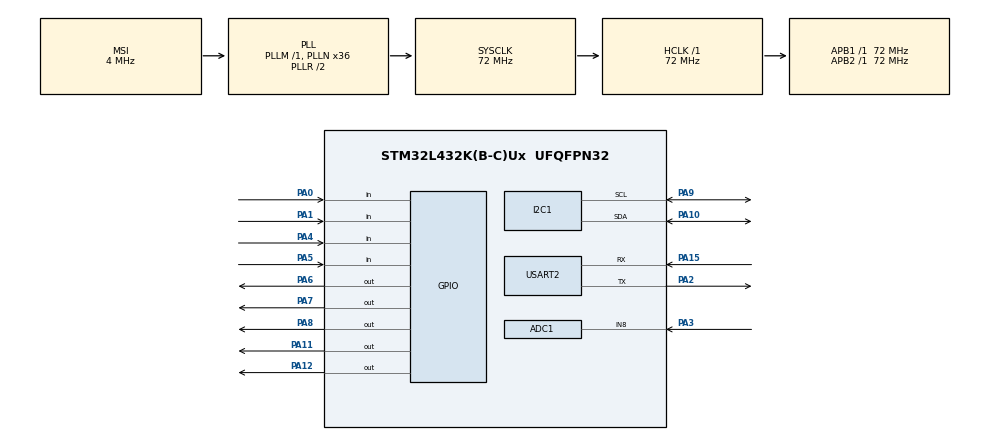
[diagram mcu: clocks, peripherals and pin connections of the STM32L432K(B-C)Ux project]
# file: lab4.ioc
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ADC1.Channel-0\#ChannelRegularConversion=ADC_CHANNEL_8
ADC1.NbrOfConversionFlag=1
ADC1.OffsetNumber-0\#ChannelRegularConversion=ADC_OFFSET_NONE
ADC1.Rank-0\#ChannelRegularConversion=1
ADC1.SamplingTime-0\#ChannelRegularConversion=ADC_SAMPLETIME_2CYCLES_5
ADC1.master=1
I2C1.Timing=0x10808DD3
Mcu.Family=STM32L4
Mcu.Name=STM32L432K(B-C)Ux
Mcu.Package=UFQFPN32
NVIC.PriorityGroup=NVIC_PRIORITYGROUP_4
NVIC.RTC_Alarm_IRQn=true\:0\:0\:false\:false\:true\:true\:true\:true
NVIC.TIM1_UP_TIM16_IRQn=true\:0\:0\:false\:false\:true\:true\:true\:true
PA0.Signal=GPIO_Input
PA1.Signal=GPIO_Input
PA10.Mode=I2C
PA10.Signal=I2C1_SDA
PA11.Signal=GPIO_Output
PA12.Signal=GPIO_Output
PA13\ (JTMS-SWDIO).Mode=Serial_Wire
PA13\ (JTMS-SWDIO).Signal=SYS_JTMS-SWDIO
PA14\ (JTCK-SWCLK).Mode=Serial_Wire
PA14\ (JTCK-SWCLK).Signal=SYS_JTCK-SWCLK
PA15\ (JTDI).Mode=Asynchronous
PA15\ (JTDI).Signal=USART2_RX
PA2.Mode=Asynchronous
PA2.Signal=USART2_TX
PA3.Signal=ADCx_IN8
PA4.Signal=GPIO_Input
PA5.Signal=GPIO_Input
PA6.Signal=GPIO_Output
PA7.Signal=GPIO_Output
PA8.Signal=GPIO_Output
PA9.Mode=I2C
PA9.Signal=I2C1_SCL
PC14-OSC32_IN\ (PC14).Mode=LSE-External-Oscillator
PC14-OSC32_IN\ (PC14).Signal=RCC_OSC32_IN
PC15-OSC32_OUT\ (PC15).Mode=LSE-External-Oscillator
PC15-OSC32_OUT\ (PC15).Signal=RCC_OSC32_OUT
ProjectManager.HeapSize=0x200
ProjectManager.StackSize=0x400
ProjectManager.TargetToolchain=MDK-ARM V5
RCC.ADCFreq_Value=32000000
RCC.AHBFreq_Value=72000000
RCC.APB1Freq_Value=72000000
RCC.APB1TimFreq_Value=72000000
RCC.APB2Freq_Value=72000000
RCC.APB2TimFreq_Value=72000000
RCC.CortexFreq_Value=72000000
RCC.HCLKFreq_Value=72000000
RCC.HSE_VALUE=8000000
RCC.HSI48_VALUE=48000000
RCC.HSI_VALUE=16000000
RCC.MSI_VALUE=4000000
RCC.PLLN=36
RCC.PLLSAI1N=16
RCC.SYSCLKFreq_VALUE=72000000
RCC.SYSCLKSource=RCC_SYSCLKSOURCE_PLLCLK
RCC.USBFreq_Value=32000000
RCC.VCOOutputFreq_Value=144000000
RTC.Alarm=RTC_ALARM_A
RTC.AlarmMaskDateWeekDay=RTC_ALARMMASK_DATEWEEKDAY
RTC.AlarmMaskHours=RTC_ALARMMASK_HOURS
RTC.AlarmMaskMinutes=RTC_ALARMMASK_MINUTES
RTC.Minutes_A=0
RTC.Seconds_A=10
SH.ADCx_IN8.0=ADC1_IN8,IN8-Single-Ended
TIM16.Period=4999
TIM16.Prescaler=7199
USART2.VirtualMode-Asynchronous=VM_ASYNC
VP_RTC_VS_RTC_Activate.Mode=RTC_Enabled
VP_RTC_VS_RTC_Alarm_A_Intern.Mode=Alarm A
VP_RTC_VS_RTC_Calendar.Mode=RTC_Calendar
VP_TIM16_VS_ClockSourceINT.Mode=Enable_Timer
board=custom

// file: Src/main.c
/**
  ******************************************************************************
  * @file           : main.c
  * @brief          : Main program body
  ******************************************************************************
  ** This notice applies to any and all portions of this file
  * that are not between comment pairs USER CODE BEGIN and
  * USER CODE END. Other portions of this file, whether
  * inserted by the user or by software development tools
  * are owned by their respective copyright owners.
  *
  * COPYRIGHT(c) 2023 STMicroelectronics
  *
  * Redistribution and use in source and binary forms, with or without modification,
  * are permitted provided that the following conditions are met:
  *   1. Redistributions of source code must retain the above copyright notice,
  *      this list of conditions and the following disclaimer.
  *   2. Redistributions in binary form must reproduce the above copyright notice,
  *      this list of conditions and the following disclaimer in the documentation
  *      and/or other materials provided with the distribution.
  *   3. Neither the name of STMicroelectronics nor the names of its contributors
  *      may be used to endorse or promote products derived from this software
  *      without specific prior written permission.
  *
  * THIS SOFTWARE IS PROVIDED BY THE COPYRIGHT HOLDERS AND CONTRIBUTORS "AS IS"
  * AND ANY EXPRESS OR IMPLIED WARRANTIES, INCLUDING, BUT NOT LIMITED TO, THE
  * IMPLIED WARRANTIES OF MERCHANTABILITY AND FITNESS FOR A PARTICULAR PURPOSE ARE
  * DISCLAIMED. IN NO EVENT SHALL THE COPYRIGHT HOLDER OR CONTRIBUTORS BE LIABLE
  * FOR ANY DIRECT, INDIRECT, INCIDENTAL, SPECIAL, EXEMPLARY, OR CONSEQUENTIAL
  * DAMAGES (INCLUDING, BUT NOT LIMITED TO, PROCUREMENT OF SUBSTITUTE GOODS OR
  * SERVICES; LOSS OF USE, DATA, OR PROFITS; OR BUSINESS INTERRUPTION) HOWEVER
  * CAUSED AND ON ANY THEORY OF LIABILITY, WHETHER IN CONTRACT, STRICT LIABILITY,
  * OR TORT (INCLUDING NEGLIGENCE OR OTHERWISE) ARISING IN ANY WAY OUT OF THE USE
  * OF THIS SOFTWARE, EVEN IF ADVISED OF THE POSSIBILITY OF SUCH DAMAGE.
  *
  ******************************************************************************
  */
#include "main.h"
#include "stm32l4xx_hal.h"

/* USER CODE BEGIN Includes */
#include "stdio.h"
#include "string.h"
#include "liquidcrystal_i2c.h.txt"
/* USER CODE END Includes */

ADC_HandleTypeDef hadc1;

I2C_HandleTypeDef hi2c1;

RTC_HandleTypeDef hrtc;

TIM_HandleTypeDef htim16;

UART_HandleTypeDef huart2;

/* USER CODE BEGIN PV */
/* Private variables ---------------------------------------------------------*/
uint8_t alarm=0, access=0;
int count = 0;
char arr[20];
char pass[] = "1234";

/* USER CODE END PV */

void SystemClock_Config(void);
static void MX_GPIO_Init(void);
static void MX_USART2_UART_Init(void);
static void MX_RTC_Init(void);
static void MX_I2C1_Init(void);
static void MX_ADC1_Init(void);
static void MX_TIM16_Init(void);

/* USER CODE BEGIN PFP */
/* Private function prototypes -----------------------------------------------*/
static void keypad(void);
/* USER CODE END PFP */

/* USER CODE BEGIN 0 */
#define C4_GPIO_PIN GPIO_PIN_7
#define C3_GPIO_PIN GPIO_PIN_6
#define C2_GPIO_PIN GPIO_PIN_8
#define C1_GPIO_PIN GPIO_PIN_11

#define R4_GPIO_PIN GPIO_PIN_0
#define R3_GPIO_PIN GPIO_PIN_1
#define R2_GPIO_PIN GPIO_PIN_5
#define R1_GPIO_PIN GPIO_PIN_4

uint8_t x;

void keypad(void){
			HAL_GPIO_WritePin (GPIOA, C1_GPIO_PIN, GPIO_PIN_RESET);	//Pull the C1 low
		HAL_GPIO_WritePin (GPIOA, C2_GPIO_PIN, GPIO_PIN_SET);  // Pull the C2 High
		HAL_GPIO_WritePin (GPIOA, C3_GPIO_PIN, GPIO_PIN_SET);  // Pull the C3 High
		HAL_GPIO_WritePin (GPIOA, C4_GPIO_PIN, GPIO_PIN_SET);  // Pull the C4 High

		if (!(HAL_GPIO_ReadPin (GPIOA, R1_GPIO_PIN)))   // if the Col 1 is low
		{
			while (!(HAL_GPIO_ReadPin (GPIOA, R1_GPIO_PIN)));   // wait till the button is pressed
			x = '1';
			sprintf(&arr[count], "%c", x );
			count++;
			HAL_UART_Transmit(&huart2,&x , 1, 1000);
			HAL_Delay(250);
		}

		if (!(HAL_GPIO_ReadPin (GPIOA, R2_GPIO_PIN)))   // if the Col 2 is low
		{
			while (!(HAL_GPIO_ReadPin (GPIOA, R2_GPIO_PIN)));   // wait till the button is pressed
			x = '4';
			sprintf(&arr[count], "%c", x );
			count++;
			HAL_UART_Transmit(&huart2,&x , 1, 1000);
			HAL_Delay(250);
		}

		if (!(HAL_GPIO_ReadPin (GPIOA, R3_GPIO_PIN)))   // if the Col 3 is low
		{
			while (!(HAL_GPIO_ReadPin (GPIOA, R3_GPIO_PIN)));   // wait till the button is pressed
			x = '7';
			sprintf(&arr[count], "%c", x );
			count++;
			HAL_UART_Transmit(&huart2,&x , 1, 1000);
			HAL_Delay(250);
		}

		if (!(HAL_GPIO_ReadPin (GPIOA, R4_GPIO_PIN)))   // if the Col 4 is low
		{
			while (!(HAL_GPIO_ReadPin (GPIOA, R4_GPIO_PIN)));   // wait till the button is pressed
			x = '0';
			sprintf(&arr[count], "%c", x );
			count++;
			HAL_UART_Transmit(&huart2,&x , 1, 1000);
			HAL_Delay(250);
		}

		HAL_GPIO_WritePin (GPIOA, C1_GPIO_PIN, GPIO_PIN_SET);	//Pull the C1 high
		HAL_GPIO_WritePin (GPIOA, C2_GPIO_PIN, GPIO_PIN_RESET);  // Pull the C2 low
		HAL_GPIO_WritePin (GPIOA, C3_GPIO_PIN, GPIO_PIN_SET);  // Pull the C3 High
		HAL_GPIO_WritePin (GPIOA, C4_GPIO_PIN, GPIO_PIN_SET);  // Pull the C4 High

		if (!(HAL_GPIO_ReadPin (GPIOA, R1_GPIO_PIN)))   // if the Col 1 is low
		{
			while (!(HAL_GPIO_ReadPin (GPIOA, R1_GPIO_PIN)));   // wait till the button is pressed
			x = '2';
			sprintf(&arr[count], "%c", x );
			count++;
			HAL_UART_Transmit(&huart2,&x , 1, 1000);
			HAL_Delay(250);
		}

		if (!(HAL_GPIO_ReadPin (GPIOA, R2_GPIO_PIN)))   // if the Col 2 is low
		{
			while (!(HAL_GPIO_ReadPin (GPIOA, R2_GPIO_PIN)));   // wait till the button is pressed
			x = '5';
			sprintf(&arr[count], "%c", x );
			count++;
			HAL_UART_Transmit(&huart2,&x , 1, 1000);
			HAL_Delay(250);
		}

		if (!(HAL_GPIO_ReadPin (GPIOA, R3_GPIO_PIN)))   // if the Col 3 is low
		{
			while (!(HAL_GPIO_ReadPin (GPIOA, R3_GPIO_PIN)));   // wait till the button is pressed
			x = '8';
			sprintf(&arr[count], "%c", x );
			count++;
			HAL_UART_Transmit(&huart2,&x , 1, 1000);
			HAL_Delay(250);
		}

		if (!(HAL_GPIO_ReadPin (GPIOA, R4_GPIO_PIN)))   // if the Col 4 is low
		{
			while (!(HAL_GPIO_ReadPin (GPIOA, R4_GPIO_PIN)));   // wait till the button is pressed
			x = 'F';
			sprintf(&arr[count], "%c", x );
			count++;
			HAL_UART_Transmit(&huart2,&x , 1, 1000);
			HAL_Delay(250);
		}

		HAL_GPIO_WritePin (GPIOA, C1_GPIO_PIN, GPIO_PIN_SET);	//Pull the C1 high
		HAL_GPIO_WritePin (GPIOA, C2_GPIO_PIN, GPIO_PIN_SET);  // Pull the C2 high
		HAL_GPIO_WritePin (GPIOA, C3_GPIO_PIN, GPIO_PIN_RESET);  // Pull the C3 low
		HAL_GPIO_WritePin (GPIOA, C4_GPIO_PIN, GPIO_PIN_SET);  // Pull the C4 High

		if (!(HAL_GPIO_ReadPin (GPIOA, R1_GPIO_PIN)))   // if the Col 1 is low
		{
			while (!(HAL_GPIO_ReadPin (GPIOA, R1_GPIO_PIN)));   // wait till the button is pressed
			x = '3';
			sprintf(&arr[count], "%c", x );
			count++;
			HAL_UART_Transmit(&huart2,&x , 1, 1000);
			HAL_Delay(250);
		}

		if (!(HAL_GPIO_ReadPin (GPIOA, R2_GPIO_PIN)))   // if the Col 2 is low
		{
			while (!(HAL_GPIO_ReadPin (GPIOA, R2_GPIO_PIN)));   // wait till the button is pressed
			x = '6';
			sprintf(&arr[count], "%c", x );
			count++;
			HAL_UART_Transmit(&huart2,&x , 1, 1000);
			HAL_Delay(250);
		}

		if (!(HAL_GPIO_ReadPin (GPIOA, R3_GPIO_PIN)))   // if the Col 3 is low
		{
			while (!(HAL_GPIO_ReadPin (GPIOA, R3_GPIO_PIN)));   // wait till the button is pressed
			x = '9';
			sprintf(&arr[count], "%c", x );
			count++;
			HAL_UART_Transmit(&huart2,&x , 1, 1000);
			HAL_Delay(250);
		}

		if (!(HAL_GPIO_ReadPin (GPIOA, R4_GPIO_PIN)))   // if the Col 4 is low
		{
			while (!(HAL_GPIO_ReadPin (GPIOA, R4_GPIO_PIN)));   // wait till the button is pressed
			x = 'E';
			sprintf(&arr[count], "%c", x );
			count++;
			HAL_UART_Transmit(&huart2,&x , 1, 1000);
			HAL_Delay(250);
		}

		HAL_GPIO_WritePin (GPIOA, C1_GPIO_PIN, GPIO_PIN_SET);	//Pull the C1 high
		HAL_GPIO_WritePin (GPIOA, C2_GPIO_PIN, GPIO_PIN_SET);  // Pull the C2 high
		HAL_GPIO_WritePin (GPIOA, C3_GPIO_PIN, GPIO_PIN_SET);  // Pull the C3 High
		HAL_GPIO_WritePin (GPIOA, C4_GPIO_PIN, GPIO_PIN_RESET);  // Pull the C4 low

		if (!(HAL_GPIO_ReadPin (GPIOA, R1_GPIO_PIN)))   // if the Col 1 is low
		{
			while (!(HAL_GPIO_ReadPin (GPIOA, R1_GPIO_PIN)));   // wait till the button is pressed
			x = 'A';
			sprintf(&arr[count], "%c", x );
			count++;
			HAL_UART_Transmit(&huart2,&x , 1, 1000);
			HAL_Delay(250);
		}

		if (!(HAL_GPIO_ReadPin (GPIOA, R2_GPIO_PIN)))   // if the Col 2 is low
		{
			while (!(HAL_GPIO_ReadPin (GPIOA, R2_GPIO_PIN)));   // wait till the button is pressed
			x = 'B';
			sprintf(&arr[count], "%c", x );
			count++;
			HAL_UART_Transmit(&huart2,&x , 1, 1000);
			HAL_Delay(250);
		}

		if (!(HAL_GPIO_ReadPin (GPIOA, R3_GPIO_PIN)))   // if the Col 3 is low
		{
			while (!(HAL_GPIO_ReadPin (GPIOA, R3_GPIO_PIN)));   // wait till the button is pressed
			x = 'C';
			sprintf(&arr[count], "%c", x );
			count++;
			HAL_UART_Transmit(&huart2,&x , 1, 1000);
			HAL_Delay(250);
		}

		if (!(HAL_GPIO_ReadPin (GPIOA, R4_GPIO_PIN)))   // if the Col 4 is low
		{
			while (!(HAL_GPIO_ReadPin (GPIOA, R4_GPIO_PIN)));   // wait till the button is pressed
			x = 'D';
			sprintf(&arr[count], "%c", x );
			count++;
			HAL_UART_Transmit(&huart2,&x , 1, 1000);
			HAL_Delay(250);
		}

		if (count <=4){

			HD44780_SetCursor(0,1);
			HD44780_PrintStr(arr);

			if(count == 4){
			if(strcmp(arr,pass) == 0){
				access = 1;
				HD44780_Clear();
				HD44780_SetCursor(0,0);
			HD44780_PrintStr("Access");
				HD44780_SetCursor(8,1);
			HD44780_PrintStr("Granted");
			}
			else
				access = 0;
			}
		}
		else {
			for (int i =0; i<count; i++)
				arr[i] = ' ';
			count = 0;
			HD44780_Clear();
			sprintf(&arr[count], "%c", x );
			count++;
		}

}

/* USER CODE END 0 */

int main(void)
{
  /* USER CODE BEGIN 1 */
    uint16_t AD_RES = 0, Vamb, DC_Multiplier, res;
	char msg[] = "\r\n Alarm ";
  /* USER CODE END 1 */

  /* MCU Configuration----------------------------------------------------------*/

  /* Reset of all peripherals, Initializes the Flash interface and the Systick. */
  HAL_Init();

  /* Configure the system clock */
  SystemClock_Config();

  /* Initialize all configured peripherals */
  MX_GPIO_Init();
  MX_USART2_UART_Init();
  MX_RTC_Init();
  MX_I2C1_Init();
  MX_ADC1_Init();
  MX_TIM16_Init();
  /* USER CODE BEGIN 2 */
// __HAL_RTC_ALARM_ENABLE_IT(&hrtc,RTC_IT_ALRA);
  HD44780_Init(2);
  HD44780_Clear();
//  HD44780_SetCursor(0,0);
//  HD44780_PrintStr("Password?");
//  HD44780_SetCursor(10,1);
//  HD44780_PrintStr("WORLD");
//  HAL_Delay(2000);

  /* USER CODE END 2 */

  /* Infinite loop */
  /* USER CODE BEGIN WHILE */
	   HAL_ADCEx_Calibration_Start(&hadc1,ADC_SINGLE_ENDED);
	HAL_TIM_Base_Start_IT(&htim16);
//	HAL_ADC_Start(&hadc1);
//    HAL_ADC_PollForConversion(&hadc1, 1);
    Vamb = HAL_ADC_GetValue(&hadc1);

    DC_Multiplier = 65535/(4096-Vamb);
  while (1)
  {

  /* USER CODE END WHILE */

  /* USER CODE BEGIN 3 */
			HAL_ADC_Start(&hadc1);
       // Poll ADC1 Perihperal & TimeOut = 1mSec
        HAL_ADC_PollForConversion(&hadc1, 1);
       // Read The ADC Conversion Result & Map It To PWM DutyCycle
        AD_RES = HAL_ADC_GetValue(&hadc1);
				res = (AD_RES-Vamb)*DC_Multiplier;
				HAL_UART_Transmit(&huart2, (uint8_t *)msg,sizeof(msg),1000);
		char arr[5] = {0, 0, 0, 0, 0};
		keypad();
		if(res>55000){

			alarm=1;
		}
		else {alarm = 0;}

					sprintf(arr, "%d\r\n", res);

				HAL_UART_Transmit(&huart2, (uint8_t *)&arr,sizeof(5),1000);
		HAL_Delay(100);

  /* USER CODE END WHILE */

  /* USER CODE BEGIN 3 */

  }
  /* USER CODE END 3 */

}

void SystemClock_Config(void)
{

  RCC_OscInitTypeDef RCC_OscInitStruct;
  RCC_ClkInitTypeDef RCC_ClkInitStruct;
  RCC_PeriphCLKInitTypeDef PeriphClkInit;

    /**Configure LSE Drive Capability
    */
  HAL_PWR_EnableBkUpAccess();

  __HAL_RCC_LSEDRIVE_CONFIG(RCC_LSEDRIVE_LOW);

    /**Initializes the CPU, AHB and APB busses clocks
    */
  RCC_OscInitStruct.OscillatorType = RCC_OSCILLATORTYPE_LSI|RCC_OSCILLATORTYPE_LSE
                              |RCC_OSCILLATORTYPE_MSI;
  RCC_OscInitStruct.LSEState = RCC_LSE_ON;
  RCC_OscInitStruct.LSIState = RCC_LSI_ON;
  RCC_OscInitStruct.MSIState = RCC_MSI_ON;
  RCC_OscInitStruct.MSICalibrationValue = 0;
  RCC_OscInitStruct.MSIClockRange = RCC_MSIRANGE_6;
  RCC_OscInitStruct.PLL.PLLState = RCC_PLL_ON;
  RCC_OscInitStruct.PLL.PLLSource = RCC_PLLSOURCE_MSI;
  RCC_OscInitStruct.PLL.PLLM = 1;
  RCC_OscInitStruct.PLL.PLLN = 36;
  RCC_OscInitStruct.PLL.PLLP = RCC_PLLP_DIV7;
  RCC_OscInitStruct.PLL.PLLQ = RCC_PLLQ_DIV2;
  RCC_OscInitStruct.PLL.PLLR = RCC_PLLR_DIV2;
  if (HAL_RCC_OscConfig(&RCC_OscInitStruct) != HAL_OK)
  {
    _Error_Handler(__FILE__, __LINE__);
  }

    /**Initializes the CPU, AHB and APB busses clocks
    */
  RCC_ClkInitStruct.ClockType = RCC_CLOCKTYPE_HCLK|RCC_CLOCKTYPE_SYSCLK
                              |RCC_CLOCKTYPE_PCLK1|RCC_CLOCKTYPE_PCLK2;
  RCC_ClkInitStruct.SYSCLKSource = RCC_SYSCLKSOURCE_PLLCLK;
  RCC_ClkInitStruct.AHBCLKDivider = RCC_SYSCLK_DIV1;
  RCC_ClkInitStruct.APB1CLKDivider = RCC_HCLK_DIV1;
  RCC_ClkInitStruct.APB2CLKDivider = RCC_HCLK_DIV1;

  if (HAL_RCC_ClockConfig(&RCC_ClkInitStruct, FLASH_LATENCY_4) != HAL_OK)
  {
    _Error_Handler(__FILE__, __LINE__);
  }

  PeriphClkInit.PeriphClockSelection = RCC_PERIPHCLK_RTC|RCC_PERIPHCLK_USART2
                              |RCC_PERIPHCLK_I2C1|RCC_PERIPHCLK_ADC;
  PeriphClkInit.Usart2ClockSelection = RCC_USART2CLKSOURCE_PCLK1;
  PeriphClkInit.I2c1ClockSelection = RCC_I2C1CLKSOURCE_PCLK1;
  PeriphClkInit.AdcClockSelection = RCC_ADCCLKSOURCE_PLLSAI1;
  PeriphClkInit.RTCClockSelection = RCC_RTCCLKSOURCE_LSI;
  PeriphClkInit.PLLSAI1.PLLSAI1Source = RCC_PLLSOURCE_MSI;
  PeriphClkInit.PLLSAI1.PLLSAI1M = 1;
  PeriphClkInit.PLLSAI1.PLLSAI1N = 16;
  PeriphClkInit.PLLSAI1.PLLSAI1P = RCC_PLLP_DIV7;
  PeriphClkInit.PLLSAI1.PLLSAI1Q = RCC_PLLQ_DIV2;
  PeriphClkInit.PLLSAI1.PLLSAI1R = RCC_PLLR_DIV2;
  PeriphClkInit.PLLSAI1.PLLSAI1ClockOut = RCC_PLLSAI1_ADC1CLK;
  if (HAL_RCCEx_PeriphCLKConfig(&PeriphClkInit) != HAL_OK)
  {
    _Error_Handler(__FILE__, __LINE__);
  }

    /**Configure the main internal regulator output voltage
    */
  if (HAL_PWREx_ControlVoltageScaling(PWR_REGULATOR_VOLTAGE_SCALE1) != HAL_OK)
  {
    _Error_Handler(__FILE__, __LINE__);
  }

    /**Configure the Systick interrupt time
    */
  HAL_SYSTICK_Config(HAL_RCC_GetHCLKFreq()/1000);

    /**Configure the Systick
    */
  HAL_SYSTICK_CLKSourceConfig(SYSTICK_CLKSOURCE_HCLK);

    /**Enable MSI Auto calibration
    */
  HAL_RCCEx_EnableMSIPLLMode();

  /* SysTick_IRQn interrupt configuration */
  HAL_NVIC_SetPriority(SysTick_IRQn, 0, 0);
}

/* ADC1 init function */
static void MX_ADC1_Init(void)
{

  ADC_ChannelConfTypeDef sConfig;

    /**Common config
    */
  hadc1.Instance = ADC1;
  hadc1.Init.ClockPrescaler = ADC_CLOCK_ASYNC_DIV1;
  hadc1.Init.Resolution = ADC_RESOLUTION_12B;
  hadc1.Init.DataAlign = ADC_DATAALIGN_RIGHT;
  hadc1.Init.ScanConvMode = ADC_SCAN_DISABLE;
  hadc1.Init.EOCSelection = ADC_EOC_SINGLE_CONV;
  hadc1.Init.LowPowerAutoWait = DISABLE;
  hadc1.Init.ContinuousConvMode = DISABLE;
  hadc1.Init.NbrOfConversion = 1;
  hadc1.Init.DiscontinuousConvMode = DISABLE;
  hadc1.Init.ExternalTrigConv = ADC_SOFTWARE_START;
  hadc1.Init.ExternalTrigConvEdge = ADC_EXTERNALTRIGCONVEDGE_NONE;
  hadc1.Init.DMAContinuousRequests = DISABLE;
  hadc1.Init.Overrun = ADC_OVR_DATA_PRESERVED;
  hadc1.Init.OversamplingMode = DISABLE;
  if (HAL_ADC_Init(&hadc1) != HAL_OK)
  {
    _Error_Handler(__FILE__, __LINE__);
  }

    /**Configure Regular Channel
    */
  sConfig.Channel = ADC_CHANNEL_8;
  sConfig.Rank = ADC_REGULAR_RANK_1;
  sConfig.SamplingTime = ADC_SAMPLETIME_2CYCLES_5;
  sConfig.SingleDiff = ADC_SINGLE_ENDED;
  sConfig.OffsetNumber = ADC_OFFSET_NONE;
  sConfig.Offset = 0;
  if (HAL_ADC_ConfigChannel(&hadc1, &sConfig) != HAL_OK)
  {
    _Error_Handler(__FILE__, __LINE__);
  }

}

/* I2C1 init function */
static void MX_I2C1_Init(void)
{

  hi2c1.Instance = I2C1;
  hi2c1.Init.Timing = 0x10808DD3;
  hi2c1.Init.OwnAddress1 = 0;
  hi2c1.Init.AddressingMode = I2C_ADDRESSINGMODE_7BIT;
  hi2c1.Init.DualAddressMode = I2C_DUALADDRESS_DISABLE;
  hi2c1.Init.OwnAddress2 = 0;
  hi2c1.Init.OwnAddress2Masks = I2C_OA2_NOMASK;
  hi2c1.Init.GeneralCallMode = I2C_GENERALCALL_DISABLE;
  hi2c1.Init.NoStretchMode = I2C_NOSTRETCH_DISABLE;
  if (HAL_I2C_Init(&hi2c1) != HAL_OK)
  {
    _Error_Handler(__FILE__, __LINE__);
  }

    /**Configure Analogue filter
    */
  if (HAL_I2CEx_ConfigAnalogFilter(&hi2c1, I2C_ANALOGFILTER_ENABLE) != HAL_OK)
  {
    _Error_Handler(__FILE__, __LINE__);
  }

    /**Configure Digital filter
    */
  if (HAL_I2CEx_ConfigDigitalFilter(&hi2c1, 0) != HAL_OK)
  {
    _Error_Handler(__FILE__, __LINE__);
  }

}

/* RTC init function */
static void MX_RTC_Init(void)
{

  RTC_TimeTypeDef sTime;
  RTC_DateTypeDef sDate;
  RTC_AlarmTypeDef sAlarm;

    /**Initialize RTC Only
    */
  hrtc.Instance = RTC;
  hrtc.Init.HourFormat = RTC_HOURFORMAT_24;
  hrtc.Init.AsynchPrediv = 127;
  hrtc.Init.SynchPrediv = 255;
  hrtc.Init.OutPut = RTC_OUTPUT_DISABLE;
  hrtc.Init.OutPutRemap = RTC_OUTPUT_REMAP_NONE;
  hrtc.Init.OutPutPolarity = RTC_OUTPUT_POLARITY_HIGH;
  hrtc.Init.OutPutType = RTC_OUTPUT_TYPE_OPENDRAIN;
  if (HAL_RTC_Init(&hrtc) != HAL_OK)
  {
    _Error_Handler(__FILE__, __LINE__);
  }

    /**Initialize RTC and set the Time and Date
    */
  sTime.Hours = 0x0;
  sTime.Minutes = 0x0;
  sTime.Seconds = 0x0;
  sTime.DayLightSaving = RTC_DAYLIGHTSAVING_NONE;
  sTime.StoreOperation = RTC_STOREOPERATION_RESET;
  if (HAL_RTC_SetTime(&hrtc, &sTime, RTC_FORMAT_BCD) != HAL_OK)
  {
    _Error_Handler(__FILE__, __LINE__);
  }

  sDate.WeekDay = RTC_WEEKDAY_MONDAY;
  sDate.Month = RTC_MONTH_JANUARY;
  sDate.Date = 0x1;
  sDate.Year = 0x0;

  if (HAL_RTC_SetDate(&hrtc, &sDate, RTC_FORMAT_BCD) != HAL_OK)
  {
    _Error_Handler(__FILE__, __LINE__);
  }

    /**Enable the Alarm A
    */
  sAlarm.AlarmTime.Hours = 0x0;
  sAlarm.AlarmTime.Minutes = 0x0;
  sAlarm.AlarmTime.Seconds = 0x10;
  sAlarm.AlarmTime.SubSeconds = 0x0;
  sAlarm.AlarmTime.DayLightSaving = RTC_DAYLIGHTSAVING_NONE;
  sAlarm.AlarmTime.StoreOperation = RTC_STOREOPERATION_RESET;
  sAlarm.AlarmMask = RTC_ALARMMASK_DATEWEEKDAY|RTC_ALARMMASK_HOURS
                              |RTC_ALARMMASK_MINUTES;
  sAlarm.AlarmSubSecondMask = RTC_ALARMSUBSECONDMASK_ALL;
  sAlarm.AlarmDateWeekDaySel = RTC_ALARMDATEWEEKDAYSEL_DATE;
  sAlarm.AlarmDateWeekDay = 0x1;
  sAlarm.Alarm = RTC_ALARM_A;
  if (HAL_RTC_SetAlarm_IT(&hrtc, &sAlarm, RTC_FORMAT_BCD) != HAL_OK)
  {
    _Error_Handler(__FILE__, __LINE__);
  }

}

/* TIM16 init function */
static void MX_TIM16_Init(void)
{

  htim16.Instance = TIM16;
  htim16.Init.Prescaler = 7199;
  htim16.Init.CounterMode = TIM_COUNTERMODE_UP;
  htim16.Init.Period = 4999;
  htim16.Init.ClockDivision = TIM_CLOCKDIVISION_DIV1;
  htim16.Init.RepetitionCounter = 0;
  htim16.Init.AutoReloadPreload = TIM_AUTORELOAD_PRELOAD_DISABLE;
  if (HAL_TIM_Base_Init(&htim16) != HAL_OK)
  {
    _Error_Handler(__FILE__, __LINE__);
  }

}

/* USART2 init function */
static void MX_USART2_UART_Init(void)
{

  huart2.Instance = USART2;
  huart2.Init.BaudRate = 115200;
  huart2.Init.WordLength = UART_WORDLENGTH_8B;
  huart2.Init.StopBits = UART_STOPBITS_1;
  huart2.Init.Parity = UART_PARITY_NONE;
  huart2.Init.Mode = UART_MODE_TX_RX;
  huart2.Init.HwFlowCtl = UART_HWCONTROL_NONE;
  huart2.Init.OverSampling = UART_OVERSAMPLING_16;
  huart2.Init.OneBitSampling = UART_ONE_BIT_SAMPLE_DISABLE;
  huart2.AdvancedInit.AdvFeatureInit = UART_ADVFEATURE_NO_INIT;
  if (HAL_UART_Init(&huart2) != HAL_OK)
  {
    _Error_Handler(__FILE__, __LINE__);
  }

}

/** Configure pins as
        * Analog
        * Input
        * Output
        * EVENT_OUT
        * EXTI
*/
static void MX_GPIO_Init(void)
{

  GPIO_InitTypeDef GPIO_InitStruct;

  /* GPIO Ports Clock Enable */
  __HAL_RCC_GPIOC_CLK_ENABLE();
  __HAL_RCC_GPIOA_CLK_ENABLE();

  /*Configure GPIO pin Output Level */
  HAL_GPIO_WritePin(GPIOA, GPIO_PIN_6|GPIO_PIN_7|GPIO_PIN_8|GPIO_PIN_11
                          |GPIO_PIN_12, GPIO_PIN_RESET);

  /*Configure GPIO pins : PA0 PA1 PA4 PA5 */
  GPIO_InitStruct.Pin = GPIO_PIN_0|GPIO_PIN_1|GPIO_PIN_4|GPIO_PIN_5;
  GPIO_InitStruct.Mode = GPIO_MODE_INPUT;
  GPIO_InitStruct.Pull = GPIO_NOPULL;
  HAL_GPIO_Init(GPIOA, &GPIO_InitStruct);

  /*Configure GPIO pins : PA6 PA7 PA8 PA11
                           PA12 */
  GPIO_InitStruct.Pin = GPIO_PIN_6|GPIO_PIN_7|GPIO_PIN_8|GPIO_PIN_11
                          |GPIO_PIN_12;
  GPIO_InitStruct.Mode = GPIO_MODE_OUTPUT_PP;
  GPIO_InitStruct.Pull = GPIO_NOPULL;
  GPIO_InitStruct.Speed = GPIO_SPEED_FREQ_LOW;
  HAL_GPIO_Init(GPIOA, &GPIO_InitStruct);

}

/* USER CODE BEGIN 4 */
//void HAL_RTC_AlarmAEventCallback(RTC_HandleTypeDef *hrtc) {
//  RTC_AlarmTypeDef sAlarm;
//  HAL_RTC_GetAlarm(hrtc,&sAlarm,RTC_ALARM_A,FORMAT_BIN);
//  if(sAlarm.AlarmTime.Seconds>58) {
//		HAL_GPIO_WritePin(GPIOA, GPIO_PIN_5,GPIO_PIN_RESET);
//    sAlarm.AlarmTime.Seconds=0;
//  }else{
//    sAlarm.AlarmTime.Seconds=sAlarm.AlarmTime.Seconds+1;
//  }
//    while(HAL_RTC_SetAlarm_IT(hrtc, &sAlarm, FORMAT_BIN)!=HAL_OK){}
//    HAL_GPIO_WritePin(GPIOA, GPIO_PIN_5,GPIO_PIN_SET);
//}
/* USER CODE END 4 */

void _Error_Handler(char *file, int line)
{
  while(1)
  {
  }
}

/************************ (C) COPYRIGHT STMicroelectronics *****END OF FILE****/
